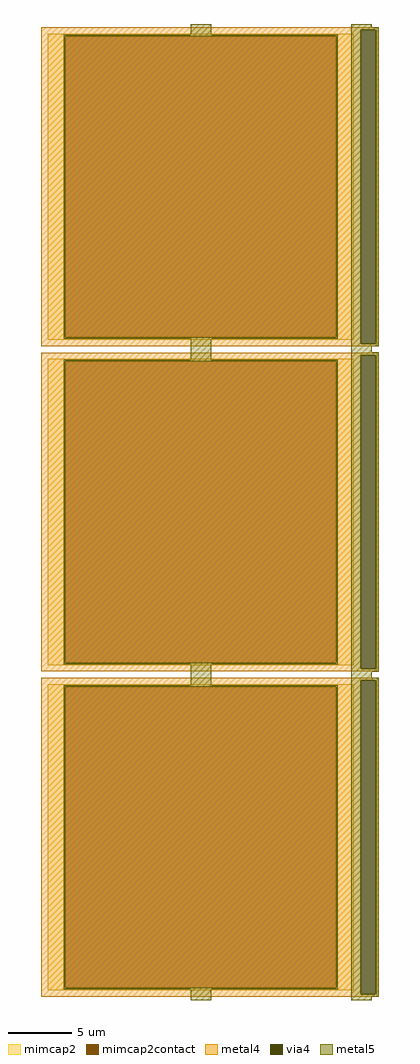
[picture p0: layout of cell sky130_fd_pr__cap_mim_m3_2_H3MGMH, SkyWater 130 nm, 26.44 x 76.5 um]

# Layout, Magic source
magic
tech sky130A
magscale 1 2
<< metal4 >>
rect -2633 7559 2633 7600
rect -2633 2641 2377 7559
rect 2613 2641 2633 7559
rect -2633 2600 2633 2641
rect -2633 2459 2633 2500
rect -2633 -2459 2377 2459
rect 2613 -2459 2633 2459
rect -2633 -2500 2633 -2459
rect -2633 -2641 2633 -2600
rect -2633 -7559 2377 -2641
rect 2613 -7559 2633 -2641
rect -2633 -7600 2633 -7559
<< via4 >>
rect 2377 2641 2613 7559
rect 2377 -2459 2613 2459
rect 2377 -7559 2613 -2641
<< mimcap2 >>
rect -2533 7460 2267 7500
rect -2533 2740 -2257 7460
rect 1991 2740 2267 7460
rect -2533 2700 2267 2740
rect -2533 2360 2267 2400
rect -2533 -2360 -2257 2360
rect 1991 -2360 2267 2360
rect -2533 -2400 2267 -2360
rect -2533 -2740 2267 -2700
rect -2533 -7460 -2257 -2740
rect 1991 -7460 2267 -2740
rect -2533 -7500 2267 -7460
<< mimcap2contact >>
rect -2257 2740 1991 7460
rect -2257 -2360 1991 2360
rect -2257 -7460 1991 -2740
<< metal5 >>
rect -293 7484 27 7650
rect 2227 7601 2547 7650
rect 2227 7559 2655 7601
rect -2281 7460 2015 7484
rect -2281 2740 -2257 7460
rect 1991 2740 2015 7460
rect -2281 2716 2015 2740
rect -293 2384 27 2716
rect 2227 2641 2377 7559
rect 2613 2641 2655 7559
rect 2227 2599 2655 2641
rect 2227 2501 2547 2599
rect 2227 2459 2655 2501
rect -2281 2360 2015 2384
rect -2281 -2360 -2257 2360
rect 1991 -2360 2015 2360
rect -2281 -2384 2015 -2360
rect -293 -2716 27 -2384
rect 2227 -2459 2377 2459
rect 2613 -2459 2655 2459
rect 2227 -2501 2655 -2459
rect 2227 -2599 2547 -2501
rect 2227 -2641 2655 -2599
rect -2281 -2740 2015 -2716
rect -2281 -7460 -2257 -2740
rect 1991 -7460 2015 -2740
rect -2281 -7484 2015 -7460
rect -293 -7650 27 -7484
rect 2227 -7559 2377 -2641
rect 2613 -7559 2655 -2641
rect 2227 -7601 2655 -7559
rect 2227 -7650 2547 -7601
<< properties >>
string gencell sky130_fd_pr__cap_mim_m3_2
string FIXED_BBOX -2633 2600 2367 7600
string parameters w 24.0 l 24.0 val 1.17k carea 2.00 cperi 0.19 nx 1 ny 3 dummy 0 square 0 lmin 2.00 wmin 2.00 lmax 30.0 wmax 30.0 dc 0 bconnect 1 tconnect 1 ccov 90
string library sky130
<< end >>
